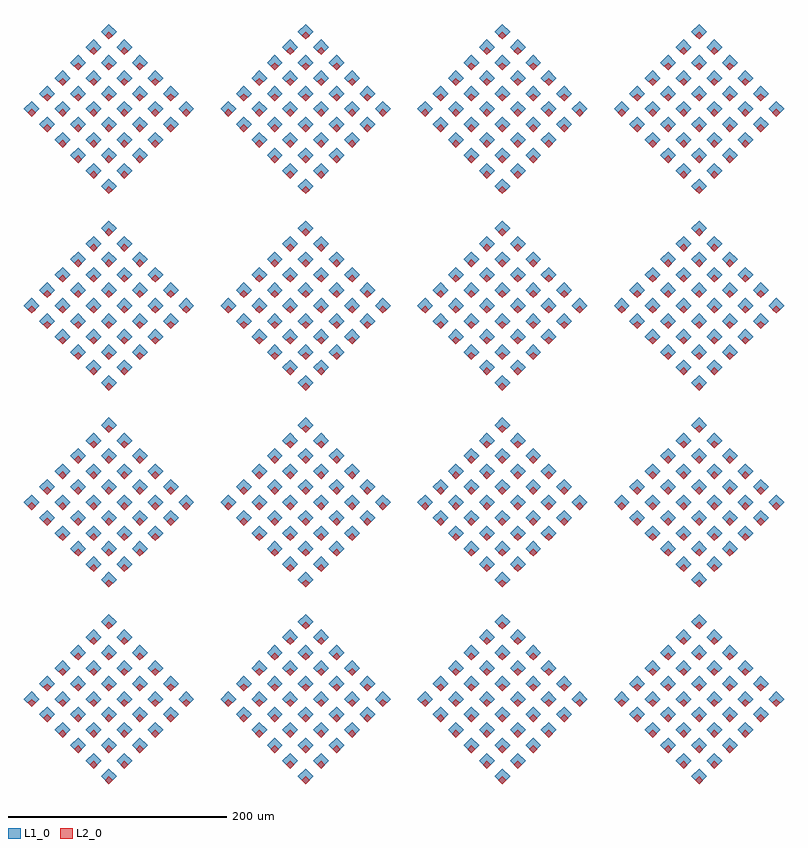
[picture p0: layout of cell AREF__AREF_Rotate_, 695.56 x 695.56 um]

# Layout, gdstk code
from math import pi, radians
import gdstk
lib = gdstk.Library(unit=1e-6, precision=1e-09)
def R(c, l, rs):  # rectangles x0, y0, x1, y1
    for r in rs: c.add(gdstk.rectangle(r[:2], r[2:], *l))
L1_0 = (1, 0)
L2_0 = (2, 0)

box = lib.new_cell('box')
R(box, L1_0, [(-5,-5,5,5)])
R(box, L2_0, [(-5,-5,0,0)])

aref_rotate = lib.new_cell('AREF_Rotate')
r = gdstk.Reference(box, (10,10), rotation=radians(45)); r.repetition = gdstk.Repetition(6, 6, v1=(14.1422,14.1422), v2=(-14.1422,14.1422)); aref_rotate.add(r)

aref__aref_rotate_ = lib.new_cell('AREF__AREF_Rotate_')
r = gdstk.Reference(aref_rotate, (0,0)); r.repetition = gdstk.Repetition(4, 4, v1=(180,0), v2=(0,180)); aref__aref_rotate_.add(r)

lib.write_gds('AREF__AREF_Rotate_.gds')
